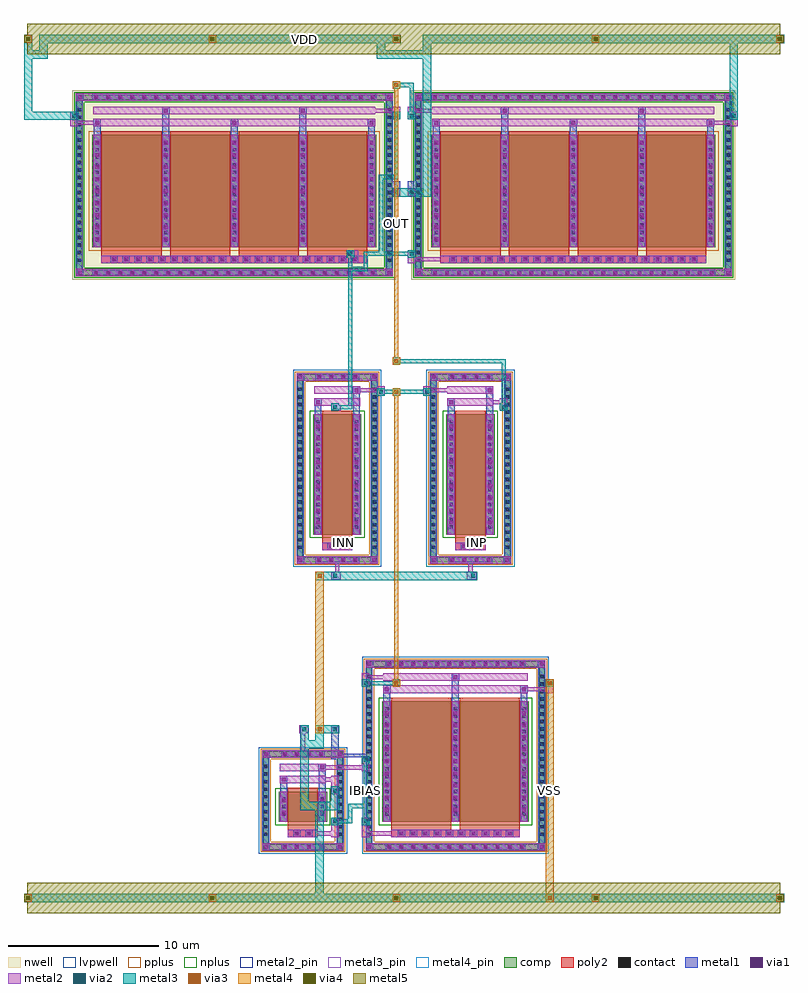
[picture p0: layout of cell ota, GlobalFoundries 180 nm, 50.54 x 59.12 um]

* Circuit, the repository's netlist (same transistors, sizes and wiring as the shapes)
* ox-alpha OTA -- 5T NMOS-input OTA, PMOS mirror load, IBIAS-driven tail
* topology: differential pair XM1/XM2, mirror load XM3/XM4,
* tail XMTAIL mirrored from external IBIAS via diode XMBIAS
.lib "{PDK_LIB}" typical
.subckt ota VDD VSS INP INN OUT IBIAS
XMBIAS IBIAS IBIAS VSS VSS nfet_03v3 W=2.0u L=2.0u nf=1
XMTAIL tail IBIAS VSS VSS nfet_03v3 W=16.0u L=4.0u nf=2
XM1 tail INN n1 VSS nfet_03v3 W=8.0u L=2.0u nf=1
XM2 tail INP OUT VSS nfet_03v3 W=8.0u L=2.0u nf=1
XM3 n1 n1 VDD VDD pfet_03v3 W=30.0u L=4.0u nf=4
XM4 OUT n1 VDD VDD pfet_03v3 W=30.0u L=4.0u nf=4
.ends

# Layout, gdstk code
import gdstk
lib = gdstk.Library(unit=1e-6, precision=1e-09)
def R(c, l, rs):  # rectangles x0, y0, x1, y1
    for r in rs: c.add(gdstk.rectangle(r[:2], r[2:], *l))
def A(c, l, x, y, w, h, nx, ny, dx, dy):  # array of equal rectangles
    R(c, l, [(x+i*dx, y+j*dy, x+i*dx+w, y+j*dy+h) for i in range(nx) for j in range(ny)])
def P(c, l, *ps):  # polygons
    for p in ps: c.add(gdstk.Polygon(p, *l))
nwell = (21, 0)
comp = (22, 0)
poly2 = (30, 0)
pplus = (31, 0)
nplus = (32, 0)
contact = (33, 0)
metal1 = (34, 0)
via1 = (35, 0)
metal2 = (36, 0)
metal2_pin = (36, 10)
via2 = (38, 0)
via3 = (40, 0)
via4 = (41, 0)
metal3 = (42, 0)
metal3_pin = (42, 10)
metal4 = (46, 0)
metal4_pin = (46, 10)
metal5 = (81, 0)
lvpwell = (204, 0)

ota = lib.new_cell('ota')
R(ota, nwell, [(-22.04,38.18,-0.5,50.77), (0.5,38.18,22.04,50.77)])
A(ota, comp, -8.09, 0.28, 0.36, 0.36, 4, 2, 0.8, 6.17)
A(ota, comp, -1.15, 0.28, 0.36, 0.36, 12, 2, 0.8, 12.17)
A(ota, comp, -9.36, 1.115, 0.36, 0.36, 1, 10, 0, 0.5)
A(ota, comp, -4.42, 1.115, 0.36, 0.36, 1, 10, 0, 0.5)
A(ota, comp, -2.5, 1.115, 0.36, 0.36, 1, 22, 0, 0.5)
A(ota, comp, 9, 1.115, 0.36, 0.36, 1, 22, 0, 0.5)
A(ota, comp, -5.81, 19.37, 0.36, 0.36, 4, 2, 0.8, 12.17)
A(ota, comp, 3.05, 19.37, 0.36, 0.36, 4, 2, 0.8, 12.17)
A(ota, comp, -7.08, 20.205, 0.36, 0.36, 1, 22, 0, 0.5)
A(ota, comp, -2.14, 20.205, 0.36, 0.36, 1, 22, 0, 0.5)
A(ota, comp, 1.78, 20.205, 0.36, 0.36, 1, 22, 0, 0.5)
A(ota, comp, 6.72, 20.205, 0.36, 0.36, 1, 22, 0, 0.5)
A(ota, comp, -20.65, 38.46, 0.36, 0.36, 24, 2, 0.8, 11.67)
A(ota, comp, 1.89, 38.46, 0.36, 0.36, 24, 2, 0.8, 11.67)
A(ota, comp, -21.76, 39.295, 0.36, 0.36, 1, 21, 0, 0.5)
A(ota, comp, -1.14, 39.295, 0.36, 0.36, 1, 21, 0, 0.5)
A(ota, comp, 0.78, 39.295, 0.36, 0.36, 1, 21, 0, 0.5)
A(ota, comp, 21.4, 39.295, 0.36, 0.36, 1, 21, 0, 0.5)
R(ota, comp, [(-8.09,0.28,-5.33,0.64), (-1.15,0.28,8.01,0.64), (-9.36,1.115,-9,5.975), (-4.42,1.115,-4.06,5.975), (-2.5,1.115,-2.14,11.975), (9,1.115,9.36,11.975), (-8.31,2.14,-5.11,4.14), (-1.45,2.14,8.31,10.14), (-8.09,6.45,-5.33,6.81), (-1.15,12.45,8.01,12.81), (-5.81,19.37,-3.05,19.73), (3.05,19.37,5.81,19.73), (-7.08,20.205,-6.72,31.065), (-2.14,20.205,-1.78,31.065), (1.78,20.205,2.14,31.065), (6.72,20.205,7.08,31.065), (-6.03,21.23,-2.83,29.23), (2.83,21.23,6.03,29.23), (-5.81,31.54,-3.05,31.9), (3.05,31.54,5.81,31.9), (-20.65,38.46,-1.89,38.82), (1.89,38.46,20.65,38.82), (-21.76,39.295,-21.4,49.655), (-1.14,39.295,-0.78,49.655), (0.78,39.295,1.14,49.655), (21.4,39.295,21.76,49.655), (-20.71,40.32,-1.83,47.82), (1.83,40.32,20.71,47.82), (-20.65,50.13,-1.89,50.49), (1.89,50.13,20.65,50.49)])
P(ota, comp, [(-4.06,6.81),(-9.36,6.81),(-9.36,0.64),(-9,0.64),(-9,6.45),(-4.42,6.45),(-4.42,0.64),(-9,0.64),(-9.36,0.64),(-9.36,0.28),(-4.06,0.28)],
  [(21.76,50.49),(0.78,50.49),(0.78,38.82),(1.14,38.82),(1.14,50.13),(21.4,50.13),(21.4,38.82),(1.14,38.82),(0.78,38.82),(0.78,38.46),(21.76,38.46)],
  [(-0.78,50.49),(-21.76,50.49),(-21.76,38.82),(-21.4,38.82),(-21.4,50.13),(-1.14,50.13),(-1.14,38.82),(-21.4,38.82),(-21.76,38.82),(-21.76,38.46),(-0.78,38.46)],
  [(7.08,31.9),(1.78,31.9),(1.78,19.73),(2.14,19.73),(2.14,31.54),(6.72,31.54),(6.72,19.73),(2.14,19.73),(1.78,19.73),(1.78,19.37),(7.08,19.37)],
  [(-1.78,31.9),(-7.08,31.9),(-7.08,19.73),(-6.72,19.73),(-6.72,31.54),(-2.14,31.54),(-2.14,19.73),(-6.72,19.73),(-7.08,19.73),(-7.08,19.37),(-1.78,19.37)],
  [(9.36,12.81),(-2.5,12.81),(-2.5,0.64),(-2.14,0.64),(-2.14,12.45),(9,12.45),(9,0.64),(-2.14,0.64),(-2.5,0.64),(-2.5,0.28),(9.36,0.28)])
A(ota, poly2, -0.35, 1.17, 0.36, 0.36, 10, 1, 0.8, 0)
A(ota, poly2, -19.45, 39.35, 0.36, 0.36, 21, 1, 0.8, 0)
A(ota, poly2, 3.09, 39.35, 0.36, 0.36, 21, 1, 0.8, 0)
A(ota, poly2, -20.11, 39.78, 4, 0.3, 4, 1, 4.56, 0)
A(ota, poly2, 2.43, 39.78, 4, 0.3, 4, 1, 4.56, 0)
A(ota, poly2, -20.11, 40.08, 4, 7.98, 4, 1, 4.56, 0)
A(ota, poly2, 2.43, 40.08, 4, 7.98, 4, 1, 4.56, 0)
R(ota, poly2, [(-7.71,1.1,-5.71,1.6), (-0.85,1.1,7.71,1.6), (-7.29,1.17,-6.93,1.53), (-6.49,1.17,-6.13,1.53), (-7.71,1.6,-5.71,1.9), (-0.85,1.6,3.15,1.9), (3.71,1.6,7.71,1.9), (-7.71,1.9,-5.71,4.38), (-0.85,1.9,3.15,10.38), (3.71,1.9,7.71,10.38), (-5.43,20.19,-3.43,20.69), (3.43,20.19,5.43,20.69), (-5.01,20.26,-4.65,20.62), (-4.21,20.26,-3.85,20.62), (3.85,20.26,4.21,20.62), (4.65,20.26,5.01,20.62), (-5.43,20.69,-3.43,20.99), (3.43,20.69,5.43,20.99), (-5.43,20.99,-3.43,29.47), (3.43,20.99,5.43,29.47), (-20.11,39.28,-2.43,39.78), (2.43,39.28,20.11,39.78)])
R(ota, pplus, [(-20.94,40.09,-1.6,48.05), (1.6,40.09,20.94,48.05)])
P(ota, pplus, [(-3.9,6.97),(-9.52,6.97),(-9.52,0.8),(-8.84,0.8),(-8.84,6.29),(-4.58,6.29),(-4.58,0.8),(-8.84,0.8),(-9.52,0.8),(-9.52,0.12),(-3.9,0.12)],
  [(7.24,32.06),(1.62,32.06),(1.62,19.89),(2.3,19.89),(2.3,31.38),(6.56,31.38),(6.56,19.89),(2.3,19.89),(1.62,19.89),(1.62,19.21),(7.24,19.21)],
  [(-1.62,32.06),(-7.24,32.06),(-7.24,19.89),(-6.56,19.89),(-6.56,31.38),(-2.3,31.38),(-2.3,19.89),(-6.56,19.89),(-7.24,19.89),(-7.24,19.21),(-1.62,19.21)],
  [(9.52,12.97),(-2.66,12.97),(-2.66,0.8),(-1.98,0.8),(-1.98,12.29),(8.84,12.29),(8.84,0.8),(-1.98,0.8),(-2.66,0.8),(-2.66,0.12),(9.52,0.12)])
R(ota, nplus, [(-8.54,1.91,-4.88,4.37), (-1.68,1.91,8.54,10.37), (-6.26,21,-2.6,29.46), (2.6,21,6.26,29.46)])
P(ota, nplus, [(21.92,50.65),(0.62,50.65),(0.62,38.98),(1.3,38.98),(1.3,49.97),(21.24,49.97),(21.24,38.98),(1.3,38.98),(0.62,38.98),(0.62,38.3),(21.92,38.3)],
  [(-0.62,50.65),(-21.92,50.65),(-21.92,38.98),(-21.24,38.98),(-21.24,49.97),(-1.3,49.97),(-1.3,38.98),(-21.24,38.98),(-21.92,38.98),(-21.92,38.3),(-0.62,38.3)])
A(ota, contact, -8.02, 0.35, 0.22, 0.22, 4, 2, 0.8, 6.17)
A(ota, contact, -1.08, 0.35, 0.22, 0.22, 12, 2, 0.8, 12.17)
A(ota, contact, -9.29, 1.185, 0.22, 0.22, 1, 10, 0, 0.5)
A(ota, contact, -4.35, 1.185, 0.22, 0.22, 1, 10, 0, 0.5)
A(ota, contact, -2.43, 1.185, 0.22, 0.22, 1, 22, 0, 0.5)
A(ota, contact, 9.07, 1.185, 0.22, 0.22, 1, 22, 0, 0.5)
A(ota, contact, -0.28, 1.24, 0.22, 0.22, 10, 1, 0.8, 0)
A(ota, contact, -8.1, 2.53, 0.22, 0.22, 1, 3, 0, 0.5)
A(ota, contact, -5.54, 2.53, 0.22, 0.22, 1, 3, 0, 0.5)
A(ota, contact, -1.24, 2.53, 0.22, 0.22, 3, 15, 4.56, 0.5)
A(ota, contact, -5.74, 19.44, 0.22, 0.22, 4, 2, 0.8, 12.17)
A(ota, contact, 3.12, 19.44, 0.22, 0.22, 4, 2, 0.8, 12.17)
A(ota, contact, -7.01, 20.275, 0.22, 0.22, 1, 22, 0, 0.5)
A(ota, contact, -2.07, 20.275, 0.22, 0.22, 1, 22, 0, 0.5)
A(ota, contact, 1.85, 20.275, 0.22, 0.22, 1, 22, 0, 0.5)
A(ota, contact, 6.79, 20.275, 0.22, 0.22, 1, 22, 0, 0.5)
A(ota, contact, -5.82, 21.62, 0.22, 0.22, 1, 15, 0, 0.5)
A(ota, contact, -3.26, 21.62, 0.22, 0.22, 1, 15, 0, 0.5)
A(ota, contact, 3.04, 21.62, 0.22, 0.22, 1, 15, 0, 0.5)
A(ota, contact, 5.6, 21.62, 0.22, 0.22, 1, 15, 0, 0.5)
A(ota, contact, -20.58, 38.53, 0.22, 0.22, 24, 2, 0.8, 11.67)
A(ota, contact, 1.96, 38.53, 0.22, 0.22, 24, 2, 0.8, 11.67)
A(ota, contact, -21.69, 39.365, 0.22, 0.22, 1, 21, 0, 0.5)
A(ota, contact, -1.07, 39.365, 0.22, 0.22, 1, 21, 0, 0.5)
A(ota, contact, 0.85, 39.365, 0.22, 0.22, 1, 21, 0, 0.5)
A(ota, contact, 21.47, 39.365, 0.22, 0.22, 1, 21, 0, 0.5)
A(ota, contact, -19.38, 39.42, 0.22, 0.22, 21, 1, 0.8, 0)
A(ota, contact, 3.16, 39.42, 0.22, 0.22, 21, 1, 0.8, 0)
A(ota, contact, -20.5, 40.71, 0.22, 0.22, 5, 14, 4.56, 0.5)
A(ota, contact, 2.04, 40.71, 0.22, 0.22, 5, 14, 4.56, 0.5)
R(ota, contact, [(-7.22,1.24,-7,1.46), (-6.42,1.24,-6.2,1.46), (-4.94,20.33,-4.72,20.55), (-4.14,20.33,-3.92,20.55), (3.92,20.33,4.14,20.55), (4.72,20.33,4.94,20.55)])
A(ota, metal1, -8.16, 0.21, 0.5, 0.5, 4, 2, 0.8, 6.17)
A(ota, metal1, -1.22, 0.21, 0.5, 0.5, 12, 2, 0.8, 12.17)
A(ota, metal1, -9.41, 1.065, 0.46, 0.46, 1, 10, 0, 0.5)
A(ota, metal1, -4.47, 1.065, 0.46, 0.46, 1, 10, 0, 0.5)
A(ota, metal1, -2.55, 1.065, 0.46, 0.46, 1, 22, 0, 0.5)
A(ota, metal1, 8.95, 1.065, 0.46, 0.46, 1, 22, 0, 0.5)
A(ota, metal1, -0.42, 1.1, 0.5, 0.5, 10, 1, 0.8, 0)
A(ota, metal1, -1.36, 2.14, 0.46, 8, 3, 1, 4.56, 0)
A(ota, metal1, -8.22, 2.41, 0.46, 0.46, 1, 3, 0, 0.5)
A(ota, metal1, -5.66, 2.41, 0.46, 0.46, 1, 3, 0, 0.5)
A(ota, metal1, -1.36, 2.41, 0.46, 0.46, 3, 15, 4.56, 0.5)
A(ota, metal1, -1.38, 2.69, 0.5, 0.5, 3, 9, 4.56, 0.8)
A(ota, metal1, -1.38, 2.69, 0.5, 6.9, 3, 1, 4.56, 0)
A(ota, metal1, -5.88, 19.3, 0.5, 0.5, 4, 2, 0.8, 12.17)
A(ota, metal1, 2.98, 19.3, 0.5, 0.5, 4, 2, 0.8, 12.17)
A(ota, metal1, -7.13, 20.155, 0.46, 0.46, 1, 22, 0, 0.5)
A(ota, metal1, -2.19, 20.155, 0.46, 0.46, 1, 22, 0, 0.5)
A(ota, metal1, 1.73, 20.155, 0.46, 0.46, 1, 22, 0, 0.5)
A(ota, metal1, 6.67, 20.155, 0.46, 0.46, 1, 22, 0, 0.5)
A(ota, metal1, -5.94, 21.5, 0.46, 0.46, 1, 15, 0, 0.5)
A(ota, metal1, -3.38, 21.5, 0.46, 0.46, 1, 15, 0, 0.5)
A(ota, metal1, 2.92, 21.5, 0.46, 0.46, 1, 15, 0, 0.5)
A(ota, metal1, 5.48, 21.5, 0.46, 0.46, 1, 15, 0, 0.5)
A(ota, metal1, -5.96, 21.78, 0.5, 0.5, 1, 9, 0, 0.8)
A(ota, metal1, -3.4, 21.78, 0.5, 0.5, 1, 9, 0, 0.8)
A(ota, metal1, 2.9, 21.78, 0.5, 0.5, 1, 9, 0, 0.8)
A(ota, metal1, 5.46, 21.78, 0.5, 0.5, 1, 9, 0, 0.8)
A(ota, metal1, -20.72, 38.39, 0.5, 0.5, 24, 2, 0.8, 11.67)
A(ota, metal1, 1.82, 38.39, 0.5, 0.5, 24, 2, 0.8, 11.67)
A(ota, metal1, -21.81, 39.245, 0.46, 0.46, 1, 21, 0, 0.5)
A(ota, metal1, -1.19, 39.245, 0.46, 0.46, 1, 21, 0, 0.5)
A(ota, metal1, 0.73, 39.245, 0.46, 0.46, 1, 21, 0, 0.5)
A(ota, metal1, 21.35, 39.245, 0.46, 0.46, 1, 21, 0, 0.5)
A(ota, metal1, -19.52, 39.28, 0.5, 0.5, 21, 1, 0.8, 0)
A(ota, metal1, 3.02, 39.28, 0.5, 0.5, 21, 1, 0.8, 0)
A(ota, metal1, -20.62, 40.32, 0.46, 7.5, 5, 1, 4.56, 0)
A(ota, metal1, 1.92, 40.32, 0.46, 7.5, 5, 1, 4.56, 0)
A(ota, metal1, -20.62, 40.59, 0.46, 0.46, 5, 14, 4.56, 0.5)
A(ota, metal1, 1.92, 40.59, 0.46, 0.46, 5, 14, 4.56, 0.5)
A(ota, metal1, -20.64, 40.62, 0.5, 0.5, 5, 9, 4.56, 0.8)
A(ota, metal1, -20.64, 40.62, 0.5, 6.9, 5, 1, 4.56, 0)
A(ota, metal1, 1.9, 40.62, 0.5, 0.5, 5, 9, 4.56, 0.8)
A(ota, metal1, 1.9, 40.62, 0.5, 6.9, 5, 1, 4.56, 0)
A(ota, metal1, -20.62, 47.82, 0.46, 1.05, 3, 1, 9.12, 0)
A(ota, metal1, 1.92, 47.82, 0.46, 1.05, 3, 1, 9.12, 0)
A(ota, metal1, -20.64, 48.37, 0.5, 0.5, 3, 1, 9.12, 0)
A(ota, metal1, 1.9, 48.37, 0.5, 0.5, 3, 1, 9.12, 0)
R(ota, metal1, [(-9.41,0.21,-8.91,0.71), (-9.41,0.21,-8.91,0.71), (-9.41,0.21,-8.95,0.64), (-8.16,0.21,-5.26,0.71), (-4.51,0.21,-4.01,0.71), (-4.51,0.21,-4.01,0.71), (-4.47,0.21,-4.01,0.64), (-2.55,0.21,-2.05,0.71), (-2.55,0.21,-2.05,0.71), (-2.55,0.21,-2.09,0.64), (-1.22,0.21,8.08,0.71), (8.91,0.21,9.41,0.71), (8.91,0.21,9.41,0.71), (8.95,0.21,9.41,0.64), (-9.41,0.64,-8.95,6.45), (-4.47,0.64,-4.01,6.45), (-2.55,0.64,-2.09,12.45), (8.95,0.64,9.41,12.45), (-7.36,1.1,-6.86,1.6), (-6.56,1.1,-6.06,1.6), (-8.22,2.14,-7.76,4.14), (-5.66,2.14,-5.2,4.14), (-8.24,2.49,-7.74,2.99), (-8.24,2.49,-7.74,3.79), (-5.68,2.49,-5.18,2.99), (-5.68,2.49,-5.18,3.79), (-8.24,3.29,-7.74,3.79), (-5.68,3.29,-5.18,3.79), (-8.22,4.14,-7.76,5.19), (-5.66,4.14,-5.2,5.99), (-8.24,4.69,-7.74,5.19), (-5.68,5.49,-5.18,5.99), (-4.47,6.025,-4.33,6.29), (-4.83,6.29,-4.33,8.53), (-9.41,6.38,-8.91,6.88), (-9.41,6.38,-8.91,6.88), (-8.16,6.38,-5.26,6.88), (-4.51,6.38,-4.01,6.88), (-4.51,6.38,-4.01,6.88), (-4.695,6.425,-2.435,6.655), (-9.41,6.45,-8.95,6.88), (-4.47,6.45,-4.01,6.88), (-4.83,8.03,-4.33,8.53), (-1.36,10.14,-0.9,11.19), (3.2,10.14,3.66,11.99), (7.76,10.14,8.22,11.19), (-1.38,10.69,-0.88,11.19), (7.74,10.69,8.24,11.19), (3.18,11.49,3.68,11.99), (-2.55,12.38,-2.05,12.88), (-2.55,12.38,-2.05,12.88), (-1.22,12.38,8.08,12.88), (8.91,12.38,9.41,12.88), (8.91,12.38,9.41,12.88), (-2.55,12.45,-2.09,12.88), (8.95,12.45,9.41,12.88), (-7.13,19.3,-6.63,19.8), (-7.13,19.3,-6.63,19.8), (-7.13,19.3,-6.67,19.73), (-5.88,19.3,-2.98,19.8), (-2.23,19.3,-1.73,19.8), (-2.23,19.3,-1.73,19.8), (-2.19,19.3,-1.73,19.73), (1.73,19.3,2.23,19.8), (1.73,19.3,2.23,19.8), (1.73,19.3,2.19,19.73), (2.98,19.3,5.88,19.8), (6.63,19.3,7.13,19.8), (6.63,19.3,7.13,19.8), (6.67,19.3,7.13,19.73), (-7.13,19.73,-6.67,31.54), (-2.19,19.73,-1.73,31.54), (1.73,19.73,2.19,31.54), (6.67,19.73,7.13,31.54), (-5.08,20.19,-4.58,20.69), (-4.28,20.19,-3.78,20.69), (3.78,20.19,4.28,20.69), (4.58,20.19,5.08,20.69), (-5.94,21.23,-5.48,29.23), (-3.38,21.23,-2.92,29.23), (2.92,21.23,3.38,29.23), (5.48,21.23,5.94,29.23), (-5.96,21.78,-5.46,28.68), (-3.4,21.78,-2.9,28.68), (2.9,21.78,3.4,28.68), (5.46,21.78,5.96,28.68), (-5.94,29.23,-5.48,30.28), (-3.38,29.23,-2.92,31.08), (2.92,29.23,3.38,30.28), (5.48,29.23,5.94,31.08), (-5.96,29.78,-5.46,30.28), (2.9,29.78,3.4,30.28), (-3.4,30.58,-2.9,31.08), (5.46,30.58,5.96,31.08), (-7.13,31.47,-6.63,31.97), (-7.13,31.47,-6.63,31.97), (-5.88,31.47,-2.98,31.97), (-2.23,31.47,-1.73,31.97), (-2.23,31.47,-1.73,31.97), (1.73,31.47,2.23,31.97), (1.73,31.47,2.23,31.97), (2.98,31.47,5.88,31.97), (6.63,31.47,7.13,31.97), (6.63,31.47,7.13,31.97), (-7.13,31.54,-6.67,31.97), (-2.19,31.54,-1.73,31.97), (1.73,31.54,2.19,31.97), (6.67,31.54,7.13,31.97), (-21.81,38.39,-21.31,38.89), (-21.81,38.39,-21.31,38.89), (-21.81,38.39,-21.35,38.82), (-20.72,38.39,-1.82,38.89), (-1.23,38.39,-0.73,38.89), (-1.23,38.39,-0.73,38.89), (-1.19,38.39,-0.73,38.82), (0.73,38.39,1.23,38.89), (0.73,38.39,1.23,38.89), (0.73,38.39,1.19,38.82), (1.82,38.39,20.72,38.89), (21.31,38.39,21.81,38.89), (21.31,38.39,21.81,38.89), (21.35,38.39,21.81,38.82), (-21.81,38.82,-21.35,50.13), (-1.19,38.82,-0.73,50.13), (0.73,38.82,1.19,50.13), (21.35,38.82,21.81,50.13), (-0.75,43.705,-0.73,43.73), (0.73,43.705,0.77,43.73), (-0.75,43.73,-0.25,44.73), (-0.75,43.73,-0.25,44.23), (0.27,43.73,0.77,44.73), (0.27,43.73,0.77,44.23), (-0.845,44.205,-0.73,44.365), (0.73,44.205,0.845,44.365), (-0.845,44.365,-0.385,44.595), (0.405,44.365,0.845,44.595), (-0.845,44.595,-0.73,44.745), (0.73,44.595,0.845,44.745), (-0.75,44.73,-0.73,44.745), (0.73,44.73,0.77,44.745), (-16.06,47.82,-15.6,49.67), (-6.94,47.82,-6.48,49.67), (6.48,47.82,6.94,49.67), (15.6,47.82,16.06,49.67), (-16.08,49.17,-15.58,49.67), (-6.96,49.17,-6.46,49.67), (6.46,49.17,6.96,49.67), (15.58,49.17,16.08,49.67), (-21.81,50.06,-21.31,50.56), (-21.81,50.06,-21.31,50.56), (-20.72,50.06,-1.82,50.56), (-1.23,50.06,-0.73,50.56), (-1.23,50.06,-0.73,50.56), (0.73,50.06,1.23,50.56), (0.73,50.06,1.23,50.56), (1.82,50.06,20.72,50.56), (21.31,50.06,21.81,50.56), (21.31,50.06,21.81,50.56), (-21.81,50.13,-21.35,50.56), (-1.19,50.13,-0.73,50.56), (0.73,50.13,1.19,50.56), (21.35,50.13,21.81,50.56)])
A(ota, via1, -8.04, 0.33, 0.26, 0.26, 4, 2, 0.8, 6.17)
A(ota, via1, -1.1, 0.33, 0.26, 0.26, 12, 2, 0.8, 12.17)
A(ota, via1, -0.3, 1.22, 0.26, 0.26, 10, 1, 0.8, 0)
A(ota, via1, -1.26, 2.81, 0.26, 0.26, 3, 9, 4.56, 0.8)
A(ota, via1, -5.76, 19.42, 0.26, 0.26, 4, 2, 0.8, 12.17)
A(ota, via1, 3.1, 19.42, 0.26, 0.26, 4, 2, 0.8, 12.17)
A(ota, via1, -5.84, 21.9, 0.26, 0.26, 1, 9, 0, 0.8)
A(ota, via1, -3.28, 21.9, 0.26, 0.26, 1, 9, 0, 0.8)
A(ota, via1, 3.02, 21.9, 0.26, 0.26, 1, 9, 0, 0.8)
A(ota, via1, 5.58, 21.9, 0.26, 0.26, 1, 9, 0, 0.8)
A(ota, via1, -20.6, 38.51, 0.26, 0.26, 24, 2, 0.8, 11.67)
A(ota, via1, 1.94, 38.51, 0.26, 0.26, 24, 2, 0.8, 11.67)
A(ota, via1, -19.4, 39.4, 0.26, 0.26, 21, 1, 0.8, 0)
A(ota, via1, 3.14, 39.4, 0.26, 0.26, 21, 1, 0.8, 0)
A(ota, via1, -20.52, 40.74, 0.26, 0.26, 5, 9, 4.56, 0.8)
A(ota, via1, 2.02, 40.74, 0.26, 0.26, 5, 9, 4.56, 0.8)
A(ota, via1, -20.52, 48.49, 0.26, 0.26, 3, 1, 9.12, 0)
A(ota, via1, 2.02, 48.49, 0.26, 0.26, 3, 1, 9.12, 0)
R(ota, via1, [(-9.29,0.33,-9.03,0.59), (-4.39,0.33,-4.13,0.59), (-2.43,0.33,-2.17,0.59), (9.03,0.33,9.29,0.59), (-7.24,1.22,-6.98,1.48), (-6.44,1.22,-6.18,1.48), (-8.12,2.61,-7.86,2.87), (-5.56,2.61,-5.3,2.87), (-8.12,3.41,-7.86,3.67), (-5.56,3.41,-5.3,3.67), (-8.12,4.81,-7.86,5.07), (-5.56,5.61,-5.3,5.87), (-9.29,6.5,-9.03,6.76), (-4.39,6.5,-4.13,6.76), (-4.71,8.15,-4.45,8.41), (-1.26,10.81,-1,11.07), (7.86,10.81,8.12,11.07), (3.3,11.61,3.56,11.87), (-2.43,12.5,-2.17,12.76), (9.03,12.5,9.29,12.76), (-7.01,19.42,-6.75,19.68), (-2.11,19.42,-1.85,19.68), (1.85,19.42,2.11,19.68), (6.75,19.42,7.01,19.68), (-4.96,20.31,-4.7,20.57), (-4.16,20.31,-3.9,20.57), (3.9,20.31,4.16,20.57), (4.7,20.31,4.96,20.57), (-5.84,29.9,-5.58,30.16), (3.02,29.9,3.28,30.16), (-3.28,30.7,-3.02,30.96), (5.58,30.7,5.84,30.96), (-7.01,31.59,-6.75,31.85), (-2.11,31.59,-1.85,31.85), (1.85,31.59,2.11,31.85), (6.75,31.59,7.01,31.85), (-21.69,38.51,-21.43,38.77), (-1.11,38.51,-0.85,38.77), (0.85,38.51,1.11,38.77), (21.43,38.51,21.69,38.77), (-0.63,43.85,-0.37,44.11), (0.39,43.85,0.65,44.11), (-15.96,49.29,-15.7,49.55), (-6.84,49.29,-6.58,49.55), (6.58,49.29,6.84,49.55), (15.7,49.29,15.96,49.55), (-21.69,50.18,-21.43,50.44), (-1.11,50.18,-0.85,50.44), (0.85,50.18,1.11,50.44), (21.43,50.18,21.69,50.44)])
A(ota, metal2, -8.16, 0.21, 0.5, 0.5, 4, 2, 0.8, 6.17)
A(ota, metal2, -1.22, 0.21, 0.5, 0.5, 12, 2, 0.8, 12.17)
A(ota, metal2, -0.42, 1.1, 0.5, 0.5, 10, 1, 0.8, 0)
A(ota, metal2, -1.38, 2.14, 0.5, 8, 3, 1, 4.56, 0)
A(ota, metal2, -1.38, 2.69, 0.5, 0.5, 3, 9, 4.56, 0.8)
A(ota, metal2, -5.88, 19.3, 0.5, 0.5, 4, 2, 0.8, 12.17)
A(ota, metal2, 2.98, 19.3, 0.5, 0.5, 4, 2, 0.8, 12.17)
A(ota, metal2, -5.96, 21.78, 0.5, 0.5, 1, 9, 0, 0.8)
A(ota, metal2, -3.4, 21.78, 0.5, 0.5, 1, 9, 0, 0.8)
A(ota, metal2, 2.9, 21.78, 0.5, 0.5, 1, 9, 0, 0.8)
A(ota, metal2, 5.46, 21.78, 0.5, 0.5, 1, 9, 0, 0.8)
A(ota, metal2, -20.72, 38.39, 0.5, 0.5, 24, 2, 0.8, 11.67)
A(ota, metal2, 1.82, 38.39, 0.5, 0.5, 24, 2, 0.8, 11.67)
A(ota, metal2, -19.52, 39.28, 0.5, 0.5, 21, 1, 0.8, 0)
A(ota, metal2, 3.02, 39.28, 0.5, 0.5, 21, 1, 0.8, 0)
A(ota, metal2, -20.64, 40.32, 0.5, 7.5, 5, 1, 4.56, 0)
A(ota, metal2, 1.9, 40.32, 0.5, 7.5, 5, 1, 4.56, 0)
A(ota, metal2, -20.64, 40.62, 0.5, 0.5, 5, 9, 4.56, 0.8)
A(ota, metal2, 1.9, 40.62, 0.5, 0.5, 5, 9, 4.56, 0.8)
A(ota, metal2, -20.64, 48.37, 0.5, 0.5, 3, 1, 9.12, 0)
A(ota, metal2, 1.9, 48.37, 0.5, 0.5, 3, 1, 9.12, 0)
R(ota, metal2, [(-9.41,0.21,-8.91,0.71), (-9.41,0.21,-8.91,0.71), (-9.41,0.21,-9,0.71), (-9,0.21,-4.42,0.71), (-4.51,0.21,-4.01,0.71), (-4.51,0.21,-4.01,0.71), (-4.42,0.21,-4.01,0.71), (-2.55,0.21,-2.05,0.71), (-2.55,0.21,-2.05,0.71), (-2.55,0.21,-2.14,0.71), (-2.14,0.21,9,0.71), (8.91,0.21,9.41,0.71), (8.91,0.21,9.41,0.71), (9,0.21,9.41,0.71), (-7.71,1.1,-5.71,1.6), (-7.36,1.1,-6.86,1.6), (-6.56,1.1,-6.06,1.6), (-4.83,1.1,-4.33,2.41), (-2.79,1.1,-2.29,2.41), (-0.85,1.1,7.71,1.6), (-6.06,1.21,-5.85,1.49), (-5.85,1.21,-4.44,1.49), (-2.68,1.21,-0.71,1.49), (-0.71,1.21,-0.42,1.49), (-4.83,1.91,-4.33,2.41), (-2.79,1.91,-2.29,2.41), (-8.24,2.14,-7.74,4.14), (-5.68,2.14,-5.18,4.14), (-8.24,2.49,-7.74,2.99), (-5.68,2.49,-5.18,2.99), (-8.24,3.29,-7.74,3.79), (-5.68,3.29,-5.18,3.79), (-4.83,3.95,-4.33,5.19), (-4.83,3.95,-4.33,4.45), (-8.24,4.69,-7.74,5.19), (-8.24,4.69,-5.18,5.19), (-5.32,4.8,-4.44,5.08), (-8.24,5.49,-5.18,5.99), (-5.68,5.49,-5.18,5.99), (-2.79,5.49,-2.29,6.49), (-5.32,5.6,-2.4,5.88), (-2.79,5.99,-2.29,6.49), (-9.41,6.38,-8.91,6.88), (-9.41,6.38,-8.91,6.88), (-9.41,6.38,-9,6.88), (-9,6.38,-4.42,6.88), (-4.51,6.38,-4.01,6.88), (-4.51,6.38,-4.01,6.88), (-4.42,6.38,-4.01,6.88), (-6.86,6.74,-6.85,6.88), (-6.85,6.74,-6.57,8.42), (-6.57,6.74,-6.56,6.88), (-6.96,8.03,-6.37,8.53), (-6.87,8.03,-6.37,8.53), (-4.83,8.03,-4.33,8.53), (-1.38,10.69,-0.88,11.19), (-1.38,10.69,8.24,11.19), (7.74,10.69,8.24,11.19), (9.45,10.69,9.95,11.59), (8.1,10.8,9.84,11.08), (-2.79,11.09,-2.29,11.99), (-2.79,11.09,-2.29,11.59), (9.45,11.09,9.95,11.59), (-1.38,11.49,8.24,11.99), (3.18,11.49,3.68,11.99), (-2.68,11.6,-1.24,11.88), (-2.55,12.38,-2.05,12.88), (-2.55,12.38,-2.05,12.88), (-2.55,12.38,-2.14,12.88), (-2.14,12.38,9,12.88), (8.91,12.38,9.41,12.88), (8.91,12.38,9.41,12.88), (9,12.38,9.41,12.88), (-4.83,18.23,-4.18,18.73), (-4.83,18.23,-4.33,18.73), (4.18,18.23,4.85,18.73), (4.35,18.23,4.85,18.73), (-4.57,18.34,-4.29,19.44), (4.29,18.34,4.57,19.44), (-7.13,19.3,-6.63,19.8), (-7.13,19.3,-6.63,19.8), (-7.13,19.3,-6.72,19.8), (-6.72,19.3,-2.14,19.8), (-4.58,19.3,-4.57,19.44), (-4.29,19.3,-4.28,19.44), (-2.23,19.3,-1.73,19.8), (-2.23,19.3,-1.73,19.8), (-2.14,19.3,-1.73,19.8), (1.73,19.3,2.23,19.8), (1.73,19.3,2.23,19.8), (1.73,19.3,2.14,19.8), (2.14,19.3,6.72,19.8), (4.28,19.3,4.29,19.44), (4.57,19.3,4.58,19.44), (6.63,19.3,7.13,19.8), (6.63,19.3,7.13,19.8), (6.72,19.3,7.13,19.8), (-5.43,20.19,-3.43,20.69), (-5.08,20.19,-4.58,20.69), (-4.28,20.19,-3.78,20.69), (3.43,20.19,5.43,20.69), (3.78,20.19,4.28,20.69), (4.58,20.19,5.08,20.69), (-5.96,21.23,-5.46,29.23), (-3.4,21.23,-2.9,29.23), (2.9,21.23,3.4,29.23), (5.46,21.23,5.96,29.23), (-4.83,29.45,-4.18,29.95), (-4.83,29.45,-4.33,29.95), (6.39,29.45,6.89,30.28), (6.39,29.45,6.89,29.95), (-4.57,29.56,-4.29,29.92), (-5.96,29.78,-5.46,30.28), (-5.96,29.78,-2.9,30.28), (2.9,29.78,3.4,30.28), (2.9,29.78,5.96,30.28), (5.82,29.89,6.78,30.17), (-1.77,30.47,-1.27,31.08), (-1.77,30.47,-1.27,30.97), (1.29,30.47,1.79,31.08), (1.29,30.47,1.79,30.97), (-5.96,30.58,-2.9,31.08), (-3.4,30.58,-2.9,31.08), (2.9,30.58,5.96,31.08), (5.46,30.58,5.96,31.08), (-3.04,30.69,-1.38,30.97), (1.4,30.69,3.04,30.97), (-7.13,31.47,-6.63,31.97), (-7.13,31.47,-6.63,31.97), (-7.13,31.47,-6.72,31.97), (-6.72,31.47,-2.14,31.97), (-2.23,31.47,-1.73,31.97), (-2.23,31.47,-1.73,31.97), (-2.14,31.47,-1.73,31.97), (1.73,31.47,2.23,31.97), (1.73,31.47,2.23,31.97), (1.73,31.47,2.14,31.97), (2.14,31.47,6.72,31.97), (6.63,31.47,7.13,31.97), (6.63,31.47,7.13,31.97), (6.72,31.47,7.13,31.97), (-21.81,38.39,-21.31,38.89), (-21.81,38.39,-21.31,38.89), (-21.81,38.39,-21.4,38.89), (-21.4,38.39,-1.14,38.89), (-1.23,38.39,-0.73,38.89), (-1.23,38.39,-0.73,38.89), (-1.14,38.39,-0.73,38.89), (0.73,38.39,1.23,38.89), (0.73,38.39,1.23,38.89), (0.73,38.39,1.14,38.89), (1.14,38.39,21.4,38.89), (21.31,38.39,21.81,38.89), (21.31,38.39,21.81,38.89), (21.4,38.39,21.81,38.89), (-20.11,39.28,-2.43,39.78), (0.27,39.28,0.77,40.15), (2.43,39.28,20.11,39.78), (0.38,39.39,2.57,39.67), (-3.41,39.64,-3.13,40.04), (-3.82,39.65,-3.81,39.78), (-3.81,39.65,-3.02,40.15), (-3.81,39.65,-3.31,40.15), (0.27,39.65,0.77,40.15), (-0.75,43.73,-0.25,44.23), (0.27,43.73,0.77,44.23), (-22.17,48.37,-21.67,49.33), (-20.64,48.37,-1.9,48.87), (1.9,48.37,20.64,48.87), (21.69,48.37,22.19,49.33), (-22.06,48.48,-20.5,48.76), (20.5,48.48,22.08,48.76), (-22.17,48.83,-21.67,49.33), (-0.75,48.83,-0.25,49.67), (-0.75,48.83,-0.25,49.33), (0.27,48.83,0.77,49.67), (0.27,48.83,0.77,49.33), (21.69,48.83,22.19,49.33), (-20.64,49.17,-1.9,49.67), (-16.08,49.17,-15.58,49.67), (-6.96,49.17,-6.46,49.67), (1.9,49.17,20.64,49.67), (6.46,49.17,6.96,49.67), (15.58,49.17,16.08,49.67), (-2.04,49.28,-0.36,49.56), (0.38,49.28,2.04,49.56), (-21.81,50.06,-21.31,50.56), (-21.81,50.06,-21.31,50.56), (-21.81,50.06,-21.4,50.56), (-21.4,50.06,-1.14,50.56), (-1.23,50.06,-0.73,50.56), (-1.23,50.06,-0.73,50.56), (-1.14,50.06,-0.73,50.56), (0.73,50.06,1.23,50.56), (0.73,50.06,1.23,50.56), (0.73,50.06,1.14,50.56), (1.14,50.06,21.4,50.56), (21.31,50.06,21.81,50.56), (21.31,50.06,21.81,50.56), (21.4,50.06,21.81,50.56)])
R(ota, metal2_pin, [(-4.17,20.55,-3.89,20.83), (4.69,20.55,4.97,20.83)])
R(ota, via2, [(-4.71,2.03,-4.45,2.29), (-2.67,2.03,-2.41,2.29), (-4.71,4.07,-4.45,4.33), (-2.67,6.11,-2.41,6.37), (-6.75,8.15,-6.49,8.41), (-4.71,8.15,-4.45,8.41), (-2.67,11.21,-2.41,11.47), (9.57,11.21,9.83,11.47), (-4.71,18.35,-4.45,18.61), (4.47,18.35,4.73,18.61), (-4.71,29.57,-4.45,29.83), (6.51,29.57,6.77,29.83), (-1.65,30.59,-1.39,30.85), (1.41,30.59,1.67,30.85), (-3.69,39.77,-3.43,40.03), (0.39,39.77,0.65,40.03), (-0.63,43.85,-0.37,44.11), (0.39,43.85,0.65,44.11), (-22.05,48.95,-21.79,49.21), (-0.63,48.95,-0.37,49.21), (0.39,48.95,0.65,49.21), (21.81,48.95,22.07,49.21)])
A(ota, via3, -25.11, -3.07, 0.26, 0.26, 3, 2, 12.24, 57.12)
R(ota, via3, [(9.57,-3.07,9.83,-2.81), (12.63,-3.07,12.89,-2.81), (24.87,-3.07,25.13,-2.81), (-5.73,8.15,-5.47,8.41), (-0.63,11.21,-0.37,11.47), (9.57,11.21,9.83,11.47), (-5.73,18.35,-5.47,18.61), (-0.63,30.59,-0.37,30.85), (-0.63,32.63,-0.37,32.89), (-0.63,50.99,-0.37,51.25), (12.63,54.05,12.89,54.31), (24.87,54.05,25.13,54.31)])
A(ota, via4, -25.11, -3.07, 0.26, 0.26, 3, 2, 12.24, 57.12)
R(ota, via4, [(12.63,-3.07,12.89,-2.81), (24.87,-3.07,25.13,-2.81), (12.63,54.05,12.89,54.31), (24.87,54.05,25.13,54.31)])
A(ota, metal3, -25.23, -3.19, 0.5, 0.5, 3, 2, 12.24, 57.12)
A(ota, metal3, -6.87, 8.03, 0.5, 0.5, 3, 1, 1.02, 0)
R(ota, metal3, [(-25.26,-3.22,-12.46,-2.66), (-13.02,-3.22,-0.22,-2.66), (-5.88,-3.22,-5.32,3.46), (-0.78,-3.22,13.04,-2.66), (12.48,-3.22,25.28,-2.66), (9.45,-3.19,9.95,-2.69), (12.51,-3.19,13.01,-2.69), (24.75,-3.19,25.25,-2.69), (-4.83,1.91,-4.33,2.41), (-2.79,1.91,-2.29,2.41), (-4.72,2.02,-3.42,2.3), (-3.7,2.02,-3.42,3.32), (-2.68,2.02,-2.4,6.38), (-6.9,2.9,-5.32,3.46), (-6.9,2.9,-6.34,8.56), (-5.88,2.9,-4.3,3.46), (-4.86,2.9,-4.3,4.48), (-3.7,3.04,-2.4,3.32), (-4.83,3.95,-4.33,4.45), (-2.79,5.99,-2.29,6.49), (-6.9,6.98,-5.32,7.54), (-5.88,6.98,-5.32,8.56), (-5.88,8,-4.3,8.56), (-2.79,11.09,-2.29,11.59), (-0.75,11.09,-0.25,11.59), (9.45,11.09,9.95,11.59), (9.45,11.09,9.95,11.59), (-2.68,11.2,-0.36,11.48), (-5.88,18.2,-4.3,18.76), (-4.86,18.2,4.88,18.76), (-5.85,18.23,-5.35,18.73), (-4.83,18.23,-4.33,18.73), (4.35,18.23,4.85,18.73), (-4.83,29.45,-4.33,29.95), (6.39,29.45,6.89,29.95), (-4.72,29.56,-3.42,29.84), (-3.7,29.56,-3.42,40.04), (6.5,29.56,6.78,32.9), (-1.77,30.47,-1.27,30.97), (-0.75,30.47,-0.25,30.97), (1.29,30.47,1.79,30.97), (-1.66,30.58,1.68,30.86), (-0.75,32.51,-0.25,33.01), (-0.64,32.62,6.78,32.9), (-3.7,38.74,-2.4,39.02), (-2.68,38.74,-2.4,40.04), (-3.81,39.65,-3.31,40.15), (0.27,39.65,0.77,40.15), (-2.68,39.76,0.66,40.04), (-1.66,39.76,-1.38,45.14), (-0.78,43.7,1.82,44.26), (1.26,43.7,1.82,53.44), (-0.75,43.73,-0.25,44.23), (0.27,43.73,0.77,44.23), (-1.66,44.86,-0.36,45.14), (-0.64,44.86,-0.36,49.22), (-25.26,48.8,-24.7,54.46), (-25.26,48.8,-21.64,49.36), (21.66,48.8,22.22,54.46), (-22.17,48.83,-21.67,49.33), (-0.75,48.83,-0.25,49.33), (0.27,48.83,0.77,49.33), (21.69,48.83,22.19,49.33), (0.38,48.94,0.66,51.26), (-0.75,50.87,-0.25,51.37), (-0.64,50.98,0.66,51.26), (-25.26,52.88,-23.68,53.44), (-24.24,52.88,-23.68,54.46), (-1.8,52.88,-1.24,54.46), (-1.8,52.88,1.82,53.44), (1.26,52.88,1.82,54.46), (-24.24,53.9,-12.46,54.46), (-13.02,53.9,-0.22,54.46), (1.26,53.9,13.04,54.46), (12.48,53.9,25.28,54.46), (12.51,53.93,13.01,54.43), (24.75,53.93,25.25,54.43)])
R(ota, metal3_pin, [(-2.68,4.06,-2.4,4.34), (-6.9,53.9,-6.34,54.46)])
A(ota, metal4, -25.23, -3.19, 0.5, 0.5, 3, 2, 12.24, 57.12)
R(ota, metal4, [(9.42,-3.22,9.98,11.62), (9.45,-3.19,9.95,-2.69), (12.51,-3.19,13.01,-2.69), (24.75,-3.19,25.25,-2.69), (-5.88,8,-5.32,18.76), (-5.85,8.03,-5.35,8.53), (-0.75,11.09,-0.25,11.59), (9.45,11.09,9.95,11.59), (-0.64,11.2,-0.36,30.86), (-5.85,18.23,-5.35,18.73), (-0.75,30.47,-0.25,30.97), (-0.75,32.51,-0.25,33.01), (-0.64,32.62,-0.36,51.26), (-0.75,50.87,-0.25,51.37), (12.51,53.93,13.01,54.43), (24.75,53.93,25.25,54.43)])
R(ota, metal4_pin, [(9.42,3.92,9.98,4.48), (-0.64,41.8,-0.36,42.08)])
A(ota, metal5, -25.23, -3.19, 0.5, 0.5, 3, 2, 12.24, 57.12)
R(ota, metal5, [(-25.04,-3.94,25.04,-1.94), (12.51,-3.19,13.01,-2.69), (24.75,-3.19,25.25,-2.69), (-25.04,53.18,25.04,55.18), (12.51,53.93,13.01,54.43), (24.75,53.93,25.25,54.43)])
R(ota, lvpwell, [(-9.64,0,-3.78,7.09), (-2.78,0,9.64,13.09), (-7.36,19.09,-1.5,32.18), (1.5,19.09,7.36,32.18)])
ota.add(gdstk.Label('IBIAS', (-2.54,4.2), layer=42, texttype=10))
ota.add(gdstk.Label('OUT', (-0.5,41.94), layer=46, texttype=10))
ota.add(gdstk.Label('INN', (-4.03,20.69), layer=36, texttype=10))
ota.add(gdstk.Label('INP', (4.83,20.69), layer=36, texttype=10))
ota.add(gdstk.Label('VSS', (9.7,4.2), layer=46, texttype=10))
ota.add(gdstk.Label('VDD', (-6.62,54.18), layer=42, texttype=10))

lib.write_gds('ota.gds')
